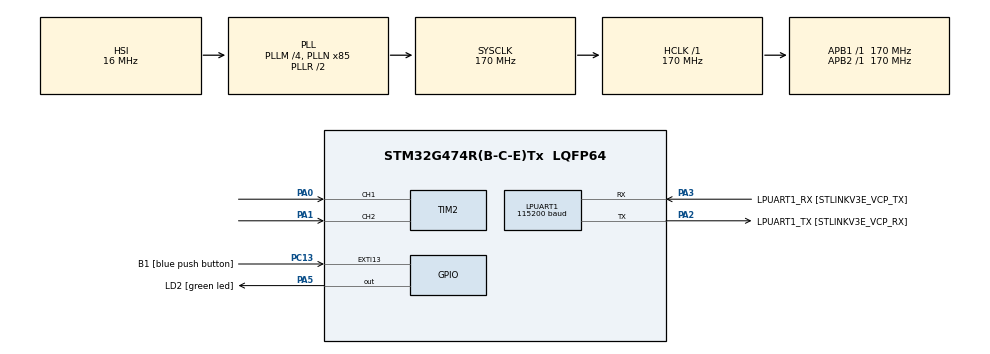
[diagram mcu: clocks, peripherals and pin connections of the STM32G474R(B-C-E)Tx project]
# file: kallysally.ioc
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LPUART1.BaudRate=115200
LPUART1.WordLength=UART_WORDLENGTH_8B
Mcu.Family=STM32G4
Mcu.Name=STM32G474R(B-C-E)Tx
Mcu.Package=LQFP64
NVIC.EXTI15_10_IRQn=true\:0\:0\:false\:false\:true\:true\:true\:true
NVIC.PriorityGroup=NVIC_PRIORITYGROUP_4
PA0.Signal=S_TIM2_CH1
PA1.Signal=S_TIM2_CH2
PA13.GPIO_Label=T_SWDIO
PA13.Mode=Serial_Wire
PA13.Signal=SYS_JTMS-SWDIO
PA14.GPIO_Label=T_SWCLK
PA14.Mode=Serial_Wire
PA14.Signal=SYS_JTCK-SWCLK
PA2.GPIO_Label=LPUART1_TX [STLINKV3E_VCP_RX]
PA2.Mode=Asynchronous
PA2.Signal=LPUART1_TX
PA3.GPIO_Label=LPUART1_RX [STLINKV3E_VCP_TX]
PA3.Mode=Asynchronous
PA3.Signal=LPUART1_RX
PA5.GPIO_Label=LD2 [green led]
PA5.Signal=GPIO_Output
PB3.GPIO_Label=T_SWO
PB3.Signal=SYS_JTDO-SWO
PC13.GPIO_Label=B1 [blue push button]
PC13.Signal=GPXTI13
PC14-OSC32_IN.Mode=LSE-External-Oscillator
PC14-OSC32_IN.Signal=RCC_OSC32_IN
PC15-OSC32_OUT.Mode=LSE-External-Oscillator
PC15-OSC32_OUT.Signal=RCC_OSC32_OUT
PF0-OSC_IN.Mode=HSE-External-Oscillator
PF0-OSC_IN.Signal=RCC_OSC_IN
PF1-OSC_OUT.Mode=HSE-External-Oscillator
PF1-OSC_OUT.Signal=RCC_OSC_OUT
ProjectManager.HeapSize=0x200
ProjectManager.StackSize=0x400
ProjectManager.TargetToolchain=STM32CubeIDE
RCC.ADC12Freq_Value=170000000
RCC.ADC345Freq_Value=170000000
RCC.AHBFreq_Value=170000000
RCC.APB1Freq_Value=170000000
RCC.APB1TimFreq_Value=170000000
RCC.APB2Freq_Value=170000000
RCC.APB2TimFreq_Value=170000000
RCC.CortexFreq_Value=170000000
RCC.EXTERNAL_CLOCK_VALUE=12288000
RCC.HCLKFreq_Value=170000000
RCC.HSE_VALUE=24000000
RCC.HSI48_VALUE=48000000
RCC.HSI_VALUE=16000000
RCC.PLLM=RCC_PLLM_DIV4
RCC.PLLN=85
RCC.RTCClockSelection=RCC_RTCCLKSOURCE_LSE
RCC.SYSCLKFreq_VALUE=170000000
RCC.SYSCLKSource=RCC_SYSCLKSOURCE_PLLCLK
RCC.USBFreq_Value=170000000
RCC.VCOOutputFreq_Value=340000000
SH.S_TIM2_CH1.0=TIM2_CH1,Encoder_Interface
SH.S_TIM2_CH2.0=TIM2_CH2,Encoder_Interface
TIM2.EncoderMode=TIM_ENCODERMODE_TI12
VP_SYS_VS_DBSignals.Mode=DisableDeadBatterySignals
VP_TIM5_VS_ClockSourceINT.Mode=Internal
board=NUCLEO-G474RE

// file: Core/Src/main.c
/* USER CODE BEGIN Header */
/**
  ******************************************************************************
  * @file           : main.c
  * @brief          : Main program body
  ******************************************************************************
  * @attention
  *
  * Copyright (c) 2024 STMicroelectronics.
  * All rights reserved.
  *
  * This software is licensed under terms that can be found in the LICENSE file
  * in the root directory of this software component.
  * If no LICENSE file comes with this software, it is provided AS-IS.
  *
  ******************************************************************************
  */
/* USER CODE END Header */
#include "main.h"

/* USER CODE BEGIN Includes */
#include "Encoder.h"
#include "kalmanfiter.h"
#include "matrix.h"
/* USER CODE END Includes */

UART_HandleTypeDef hlpuart1;

TIM_HandleTypeDef htim2;
TIM_HandleTypeDef htim5;

/* USER CODE BEGIN PV */
uint64_t _micros;					// Microsecond
uint64_t micros();

/* USER CODE END PV */

void SystemClock_Config(void);
static void MX_GPIO_Init(void);
static void MX_LPUART1_UART_Init(void);
static void MX_TIM2_Init(void);
static void MX_TIM5_Init(void);

int main(void)
{

  /* MCU Configuration--------------------------------------------------------*/

  /* Reset of all peripherals, Initializes the Flash interface and the Systick. */
  HAL_Init();

  /* Configure the system clock */
  SystemClock_Config();

  /* Initialize all configured peripherals */
  MX_GPIO_Init();
  MX_LPUART1_UART_Init();
  MX_TIM2_Init();
  MX_TIM5_Init();
  /* USER CODE BEGIN 2 */

  HAL_TIM_Base_Start(&htim2);					// AMT Encoder
  HAL_TIM_Base_Start_IT(&htim5);				// Micros

  AMT_Encoder AMT;
  KalmanFilter Kally;
  AMT_encoder_init(&AMT, &htim2);

  Input_Value_Here
  float A_matrix[10] ;
  float B_matrix[10] ;
  float C_matrix[10] ;
  float G_matrix[10] ;
  float Q_matrix[10] ;
  float R_matrix[10] ;
  KalmanFilter_Init(&Kally, A_matrix, B_matrix, C_matrix, G_matrix, Q_matrix, R_matrix);

  /* USER CODE END 2 */

  /* Infinite loop */
  while (1)
  {

    /* USER CODE BEGIN 3 */
	  static uint64_t timestamp =0;
		  int64_t currentTime = HAL_GetTick();
		  if(currentTime > timestamp)
		  {
		  timestamp =currentTime + 1;				//ms
		  AMT_encoder_update(&AMT, &htim2, micros());
		  }
	Compute(&Kally, AMT.Linear_Position);
  }
  /* USER CODE END 3 */
}

void SystemClock_Config(void)
{
  RCC_OscInitTypeDef RCC_OscInitStruct = {0};
  RCC_ClkInitTypeDef RCC_ClkInitStruct = {0};

  /** Configure the main internal regulator output voltage
  */
  HAL_PWREx_ControlVoltageScaling(PWR_REGULATOR_VOLTAGE_SCALE1_BOOST);

  /** Initializes the RCC Oscillators according to the specified parameters
  * in the RCC_OscInitTypeDef structure.
  */
  RCC_OscInitStruct.OscillatorType = RCC_OSCILLATORTYPE_HSI;
  RCC_OscInitStruct.HSIState = RCC_HSI_ON;
  RCC_OscInitStruct.HSICalibrationValue = RCC_HSICALIBRATION_DEFAULT;
  RCC_OscInitStruct.PLL.PLLState = RCC_PLL_ON;
  RCC_OscInitStruct.PLL.PLLSource = RCC_PLLSOURCE_HSI;
  RCC_OscInitStruct.PLL.PLLM = RCC_PLLM_DIV4;
  RCC_OscInitStruct.PLL.PLLN = 85;
  RCC_OscInitStruct.PLL.PLLP = RCC_PLLP_DIV2;
  RCC_OscInitStruct.PLL.PLLQ = RCC_PLLQ_DIV2;
  RCC_OscInitStruct.PLL.PLLR = RCC_PLLR_DIV2;
  if (HAL_RCC_OscConfig(&RCC_OscInitStruct) != HAL_OK)
  {
    Error_Handler();
  }

  /** Initializes the CPU, AHB and APB buses clocks
  */
  RCC_ClkInitStruct.ClockType = RCC_CLOCKTYPE_HCLK|RCC_CLOCKTYPE_SYSCLK
                              |RCC_CLOCKTYPE_PCLK1|RCC_CLOCKTYPE_PCLK2;
  RCC_ClkInitStruct.SYSCLKSource = RCC_SYSCLKSOURCE_PLLCLK;
  RCC_ClkInitStruct.AHBCLKDivider = RCC_SYSCLK_DIV1;
  RCC_ClkInitStruct.APB1CLKDivider = RCC_HCLK_DIV1;
  RCC_ClkInitStruct.APB2CLKDivider = RCC_HCLK_DIV1;

  if (HAL_RCC_ClockConfig(&RCC_ClkInitStruct, FLASH_LATENCY_4) != HAL_OK)
  {
    Error_Handler();
  }
}

static void MX_LPUART1_UART_Init(void)
{

  hlpuart1.Instance = LPUART1;
  hlpuart1.Init.BaudRate = 115200;
  hlpuart1.Init.WordLength = UART_WORDLENGTH_8B;
  hlpuart1.Init.StopBits = UART_STOPBITS_1;
  hlpuart1.Init.Parity = UART_PARITY_NONE;
  hlpuart1.Init.Mode = UART_MODE_TX_RX;
  hlpuart1.Init.HwFlowCtl = UART_HWCONTROL_NONE;
  hlpuart1.Init.OneBitSampling = UART_ONE_BIT_SAMPLE_DISABLE;
  hlpuart1.Init.ClockPrescaler = UART_PRESCALER_DIV1;
  hlpuart1.AdvancedInit.AdvFeatureInit = UART_ADVFEATURE_NO_INIT;
  if (HAL_UART_Init(&hlpuart1) != HAL_OK)
  {
    Error_Handler();
  }
  if (HAL_UARTEx_SetTxFifoThreshold(&hlpuart1, UART_TXFIFO_THRESHOLD_1_8) != HAL_OK)
  {
    Error_Handler();
  }
  if (HAL_UARTEx_SetRxFifoThreshold(&hlpuart1, UART_RXFIFO_THRESHOLD_1_8) != HAL_OK)
  {
    Error_Handler();
  }
  if (HAL_UARTEx_DisableFifoMode(&hlpuart1) != HAL_OK)
  {
    Error_Handler();
  }

}

static void MX_TIM2_Init(void)
{

  TIM_Encoder_InitTypeDef sConfig = {0};
  TIM_MasterConfigTypeDef sMasterConfig = {0};

  htim2.Instance = TIM2;
  htim2.Init.Prescaler = 0;
  htim2.Init.CounterMode = TIM_COUNTERMODE_UP;
  htim2.Init.Period = 4294967295;
  htim2.Init.ClockDivision = TIM_CLOCKDIVISION_DIV1;
  htim2.Init.AutoReloadPreload = TIM_AUTORELOAD_PRELOAD_DISABLE;
  sConfig.EncoderMode = TIM_ENCODERMODE_TI12;
  sConfig.IC1Polarity = TIM_ICPOLARITY_RISING;
  sConfig.IC1Selection = TIM_ICSELECTION_DIRECTTI;
  sConfig.IC1Prescaler = TIM_ICPSC_DIV1;
  sConfig.IC1Filter = 0;
  sConfig.IC2Polarity = TIM_ICPOLARITY_RISING;
  sConfig.IC2Selection = TIM_ICSELECTION_DIRECTTI;
  sConfig.IC2Prescaler = TIM_ICPSC_DIV1;
  sConfig.IC2Filter = 0;
  if (HAL_TIM_Encoder_Init(&htim2, &sConfig) != HAL_OK)
  {
    Error_Handler();
  }
  sMasterConfig.MasterOutputTrigger = TIM_TRGO_RESET;
  sMasterConfig.MasterSlaveMode = TIM_MASTERSLAVEMODE_DISABLE;
  if (HAL_TIMEx_MasterConfigSynchronization(&htim2, &sMasterConfig) != HAL_OK)
  {
    Error_Handler();
  }

}

static void MX_TIM5_Init(void)
{

  TIM_ClockConfigTypeDef sClockSourceConfig = {0};
  TIM_MasterConfigTypeDef sMasterConfig = {0};

  htim5.Instance = TIM5;
  htim5.Init.Prescaler = 0;
  htim5.Init.CounterMode = TIM_COUNTERMODE_UP;
  htim5.Init.Period = 4294967295;
  htim5.Init.ClockDivision = TIM_CLOCKDIVISION_DIV1;
  htim5.Init.AutoReloadPreload = TIM_AUTORELOAD_PRELOAD_DISABLE;
  if (HAL_TIM_Base_Init(&htim5) != HAL_OK)
  {
    Error_Handler();
  }
  sClockSourceConfig.ClockSource = TIM_CLOCKSOURCE_INTERNAL;
  if (HAL_TIM_ConfigClockSource(&htim5, &sClockSourceConfig) != HAL_OK)
  {
    Error_Handler();
  }
  sMasterConfig.MasterOutputTrigger = TIM_TRGO_RESET;
  sMasterConfig.MasterSlaveMode = TIM_MASTERSLAVEMODE_DISABLE;
  if (HAL_TIMEx_MasterConfigSynchronization(&htim5, &sMasterConfig) != HAL_OK)
  {
    Error_Handler();
  }

}

static void MX_GPIO_Init(void)
{
  GPIO_InitTypeDef GPIO_InitStruct = {0};

  /* GPIO Ports Clock Enable */
  __HAL_RCC_GPIOC_CLK_ENABLE();
  __HAL_RCC_GPIOF_CLK_ENABLE();
  __HAL_RCC_GPIOA_CLK_ENABLE();
  __HAL_RCC_GPIOB_CLK_ENABLE();

  /*Configure GPIO pin Output Level */
  HAL_GPIO_WritePin(LD2_GPIO_Port, LD2_Pin, GPIO_PIN_RESET);

  /*Configure GPIO pin : B1_Pin */
  GPIO_InitStruct.Pin = B1_Pin;
  GPIO_InitStruct.Mode = GPIO_MODE_IT_RISING;
  GPIO_InitStruct.Pull = GPIO_NOPULL;
  HAL_GPIO_Init(B1_GPIO_Port, &GPIO_InitStruct);

  /*Configure GPIO pin : LD2_Pin */
  GPIO_InitStruct.Pin = LD2_Pin;
  GPIO_InitStruct.Mode = GPIO_MODE_OUTPUT_PP;
  GPIO_InitStruct.Pull = GPIO_NOPULL;
  GPIO_InitStruct.Speed = GPIO_SPEED_FREQ_LOW;
  HAL_GPIO_Init(LD2_GPIO_Port, &GPIO_InitStruct);

  /* EXTI interrupt init*/
  HAL_NVIC_SetPriority(EXTI15_10_IRQn, 0, 0);
  HAL_NVIC_EnableIRQ(EXTI15_10_IRQn);

}

/* USER CODE BEGIN 4 */
void HAL_TIM_PeriodElapsedCallback(TIM_HandleTypeDef *htim)
	{
		if(htim == &htim5)
			{
			_micros += UINT32_MAX;
			}
	}

uint64_t micros()
	{
		return __HAL_TIM_GET_COUNTER(&htim5)+_micros;
	}

/* USER CODE END 4 */

void Error_Handler(void)
{
  __disable_irq();
  while (1)
  {
  }
}
